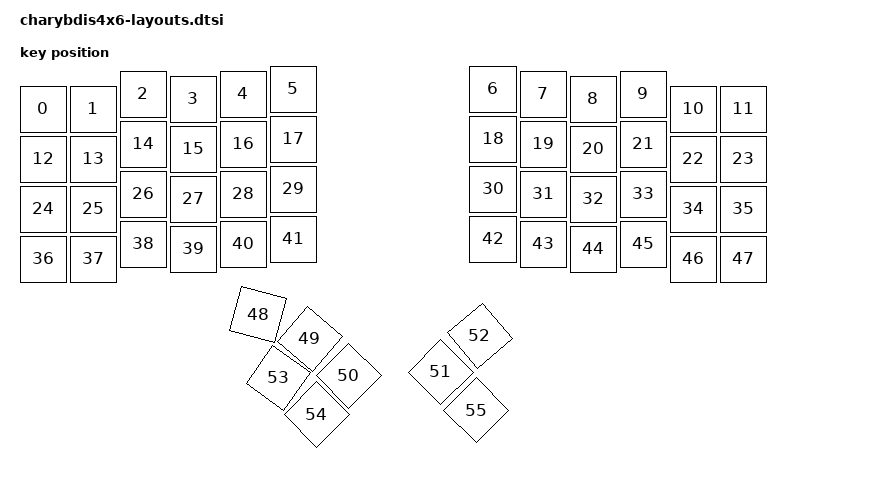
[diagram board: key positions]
#include <physical_layouts.dtsi>

/ {
    charybdis4x6_physical_layout: charybdis4x6_physical_layout {
        compatible = "zmk,physical-layout";
        display-name = "Charybdis 4x6";

        kscan = <&kscan0>;
        transform = <&default_transform>;

        keys  
            // Main Keyboard
            //                     w   h    x    y     rot    rx    ry
            = <&key_physical_attrs 100 100    0   40       0     0     0>
            , <&key_physical_attrs 100 100  100   40       0     0     0>
            , <&key_physical_attrs 100 100  200   10       0     0     0>
            , <&key_physical_attrs 100 100  300   20       0     0     0>
            , <&key_physical_attrs 100 100  400   10       0     0     0>
            , <&key_physical_attrs 100 100  500    0       0     0     0>
            , <&key_physical_attrs 100 100  900    0       0     0     0>
            , <&key_physical_attrs 100 100 1000   10       0     0     0>
            , <&key_physical_attrs 100 100 1100   20       0     0     0>
            , <&key_physical_attrs 100 100 1200   10       0     0     0>
            , <&key_physical_attrs 100 100 1300   40       0     0     0>
            , <&key_physical_attrs 100 100 1400   40       0     0     0>
            , <&key_physical_attrs 100 100    0  140       0     0     0>
            , <&key_physical_attrs 100 100  100  140       0     0     0>
            , <&key_physical_attrs 100 100  200  110       0     0     0>
            , <&key_physical_attrs 100 100  300  120       0     0     0>
            , <&key_physical_attrs 100 100  400  110       0     0     0>
            , <&key_physical_attrs 100 100  500  100       0     0     0>
            , <&key_physical_attrs 100 100  900  100       0     0     0>
            , <&key_physical_attrs 100 100 1000  110       0     0     0>
            , <&key_physical_attrs 100 100 1100  120       0     0     0>
            , <&key_physical_attrs 100 100 1200  110       0     0     0>
            , <&key_physical_attrs 100 100 1300  140       0     0     0>
            , <&key_physical_attrs 100 100 1400  140       0     0     0>
            , <&key_physical_attrs 100 100    0  240       0     0     0>
            , <&key_physical_attrs 100 100  100  240       0     0     0>
            , <&key_physical_attrs 100 100  200  210       0     0     0>
            , <&key_physical_attrs 100 100  300  220       0     0     0>
            , <&key_physical_attrs 100 100  400  210       0     0     0>
            , <&key_physical_attrs 100 100  500  200       0     0     0>
            , <&key_physical_attrs 100 100  900  200       0     0     0>
            , <&key_physical_attrs 100 100 1000  210       0     0     0>
            , <&key_physical_attrs 100 100 1100  220       0     0     0>
            , <&key_physical_attrs 100 100 1200  210       0     0     0>
            , <&key_physical_attrs 100 100 1300  240       0     0     0>
            , <&key_physical_attrs 100 100 1400  240       0     0     0>
            , <&key_physical_attrs 100 100    0  340       0     0     0>
            , <&key_physical_attrs 100 100  100  340       0     0     0>
            , <&key_physical_attrs 100 100  200  310       0     0     0>
            , <&key_physical_attrs 100 100  300  320       0     0     0>
            , <&key_physical_attrs 100 100  400  310       0     0     0>
            , <&key_physical_attrs 100 100  500  300       0     0     0>
            , <&key_physical_attrs 100 100  900  300       0     0     0>
            , <&key_physical_attrs 100 100 1000  310       0     0     0>
            , <&key_physical_attrs 100 100 1100  320       0     0     0>
            , <&key_physical_attrs 100 100 1200  310       0     0     0>
            , <&key_physical_attrs 100 100 1300  340       0     0     0>
            , <&key_physical_attrs 100 100 1400  340       0     0     0>
            // Thumb Clusters
            //                       w   h    x    y     rot    rx    ry
            , <&key_physical_attrs 100 100  350  440    1500   400   800>
            , <&key_physical_attrs 100 100  330  440    4000   400   800>
            , <&key_physical_attrs 100 100  410  440    4500   400   800>
            , <&key_physical_attrs 100 100 1000  440 (-4500)  1100   800>
            , <&key_physical_attrs 100 100 1080  440 (-4000)  1100   800>
            , <&key_physical_attrs 100 100  350  540    3500   400   800>
            , <&key_physical_attrs 100 100  420  540    4500   400   800>
            , <&key_physical_attrs 100 100  990  540 (-4500)  1102   790>
            ;
    };
};
